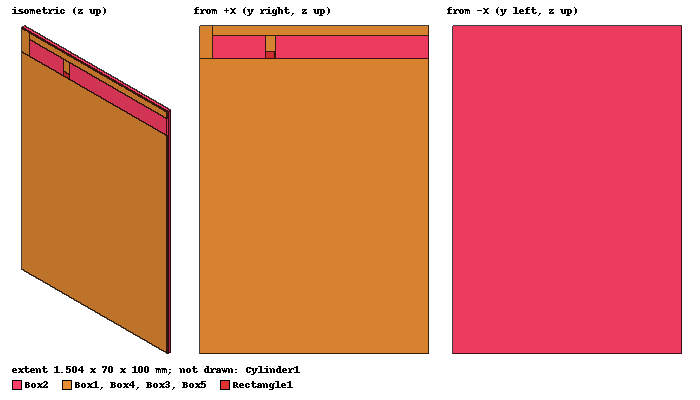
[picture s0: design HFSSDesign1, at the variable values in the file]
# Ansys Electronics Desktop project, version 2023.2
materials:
  vacuum: permittivity=1
  copper: permeability=0.999991 conductivity=58000000
  FR4_epoxy: permittivity=4.4 dielectric_loss_tangent=0.02
  Rogers RO3003 (tm): permittivity=3 dielectric_loss_tangent=0.0013
  Rogers TMM 10 (tm): permittivity=9.2 dielectric_loss_tangent=0.0022

design HFSSDesign1 (HFSS, HFSS Terminal Network, model units mm)
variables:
  IU = 25
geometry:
  Box1 [copper] = box(corner=(0mm, 0mm, 0mm), size=(0.0035mm, 70mm, 90mm))
  Box2 [Rogers TMM 10 (tm)] = box(corner=(0mm, 0mm, 0mm), size=(-1.5mm, 70mm, 100mm))
  Box3 [copper] = box(corner=(0mm, 0mm, 90mm), size=(0.0035mm, 4mm, 10mm))
  Box4 [copper] = box(corner=(0mm, 4mm, 97mm), size=(0.0035mm, 66mm, 3mm))
  Box5 [copper] = box(corner=(0mm, 20.1mm, 90mm), size=(0.0035mm, 3.0195mm, 7mm))
  Rectangle1 = rectangle(corner=(0.0035mm, 20.1mm, 90mm), y_size=3mm, z_size=2mm)
  Cylinder1 [vacuum] = cylinder(axis=Z, base_centre=(0mm, 35mm, -81.5mm), radius=115mm, height=272mm)
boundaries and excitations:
  Rad1: Radiation Objects=Cylinder1
  Port1: Lumped Port Faces=Rectangle1.face LumpedPortType=Modal Modes{Mode1{IntLine{(0.0035, 21.60975, 90) -> (0.0035, 21.6, 92)} CharImp=Zpi}} Impedance=50ohm
  reference conductors: Box1, Box5
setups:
  Setup2: HfssDriven Frequency=1.5GHz MaxDeltaS=0.02 MaximumPasses=6 MinimumPasses=1 MinimumConvergedPasses=1 PercentRefinement=30 BasisOrder=1 PortAccuracy=2 DrivenSolverType="Direct Solver"
    sweep Sweep: 0.2GHz to 5GHz, 1000 points; Type=Fast SaveFields
  Setup3: HfssDriven Frequency=1GHz MaxDeltaS=0.02 MaximumPasses=6 MinimumPasses=1 MinimumConvergedPasses=1 PercentRefinement=30 BasisOrder=1 PortAccuracy=2 DrivenSolverType="Direct Solver"
    sweep Sweep: 0.5GHz to 1.5GHz, 1000 points; Type=Fast SaveFields
  Setup4: HfssDriven Frequency=0.92GHz MaxDeltaS=0.02 MaximumPasses=6 MinimumPasses=1 MinimumConvergedPasses=1 PercentRefinement=30 BasisOrder=1 PortAccuracy=2 DrivenSolverType="Direct Solver"
    sweep Sweep: 0.46GHz to 1.38GHz, 401 points; Type=Interpolating InterpTolerance=0.5 InterpMaxSolns=250 PassivityErrorTolerance=0.0001
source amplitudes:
  Port1:1: 1V 0deg
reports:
  S Parameter Plot 2: dB(S(Port1,Port1)) vs Freq on Setup2 : Sweep; markers MX1 at x=8.7654008e+08
  S Parameter Plot 3: dB(S(Port1,Port1)) vs Freq on Setup3 : Sweep; markers MX1 at x=9.1036415e+08
  S Parameter Plot 4: dB(S(Port1,Port1)) vs Freq on Setup4 : Sweep; markers m1 at 0.8809GHz, m2 at 0.8326GHz, MX1 at x=4e+08
